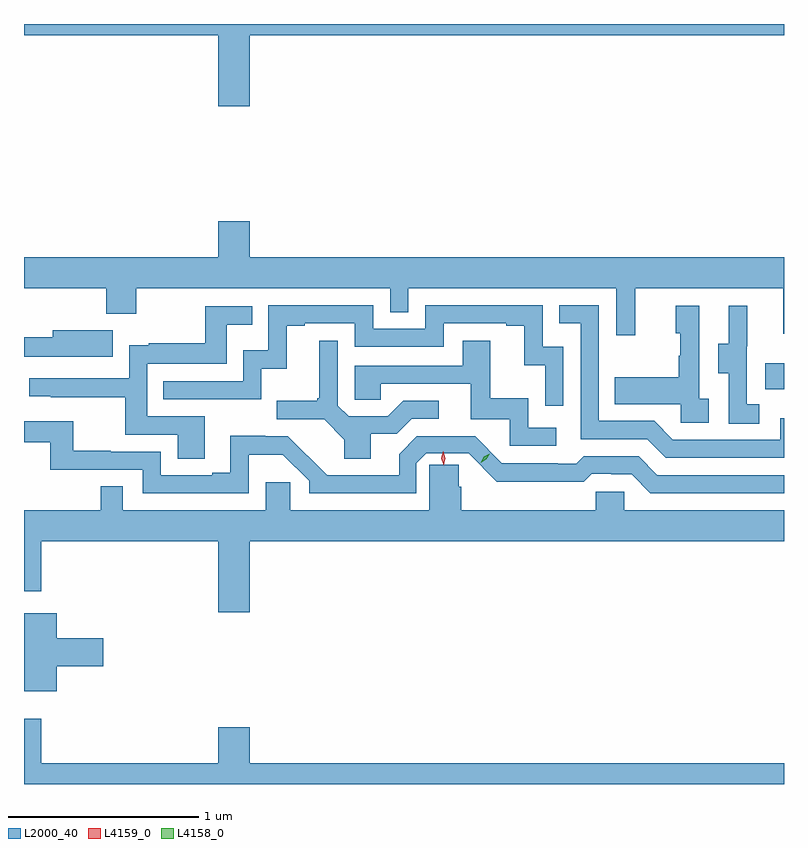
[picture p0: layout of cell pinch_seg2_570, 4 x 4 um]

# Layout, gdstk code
import gdstk
lib = gdstk.Library(unit=1e-6, precision=1e-09)
def R(c, l, rs):  # rectangles x0, y0, x1, y1
    for r in rs: c.add(gdstk.rectangle(r[:2], r[2:], *l))
def P(c, l, *ps):  # polygons
    for p in ps: c.add(gdstk.Polygon(p, *l))
L2000_40 = (2000, 40)
L4158_0 = (4158, 0)
L4159_0 = (4159, 0)

pinch_seg2_570 = lib.new_cell('pinch_seg2_570')
R(pinch_seg2_570, L2000_40, [(1138.915,608.477,1139.013,608.614)])
P(pinch_seg2_570, L2000_40, [(1136.2,610.34),(1139.013,610.34),(1139.013,610.399),(1135.013,610.399),(1135.013,610.34),(1136.036,610.34),(1136.036,609.966),(1136.2,609.966)],
  [(1138.229,609.008),(1139.009,609.008),(1139.009,608.769),(1139.013,608.769),(1139.013,609.172),(1136.2,609.172),(1136.2,609.361),(1136.036,609.361),(1136.036,609.172),(1135.013,609.172),(1135.013,609.008),(1135.445,609.008),(1135.445,608.873),(1135.605,608.873),(1135.605,609.008),(1136.94,609.008),(1136.94,608.881),(1137.036,608.881),(1137.036,609.008),(1138.131,609.008),(1138.131,608.76),(1138.229,608.76)],
  [(1137.852,608.7),(1137.744,608.7),(1137.744,608.919),(1137.126,608.919),(1137.126,608.796),(1136.85,608.796),(1136.85,608.919),(1136.298,608.919),(1136.298,608.683),(1136.166,608.683),(1136.166,608.52),(1135.747,608.52),(1135.747,608.424),(1136.262,608.424),(1136.262,608.585),(1136.395,608.585),(1136.395,608.811),(1136.491,608.811),(1136.491,608.823),(1136.754,608.823),(1136.754,608.7),(1137.222,608.7),(1137.222,608.823),(1137.551,608.823),(1137.551,608.811),(1137.647,608.811),(1137.647,608.603),(1137.756,608.603),(1137.756,608.391),(1137.852,608.391)],
  [(1139.013,608.323),(1138.992,608.323),(1138.992,608.211),(1138.428,608.211),(1138.329,608.31),(1138.038,608.31),(1138.038,608.919),(1137.829,608.919),(1137.829,608.823),(1137.942,608.823),(1137.942,608.214),(1138.292,608.214),(1138.391,608.115),(1139.013,608.115)],
  [(1138.618,608.426),(1138.566,608.426),(1138.566,608.917),(1138.442,608.917),(1138.442,608.772),(1138.468,608.772),(1138.468,608.654),(1138.458,608.654),(1138.458,608.539),(1138.123,608.539),(1138.123,608.399),(1138.47,608.399),(1138.47,608.301),(1138.618,608.301)],
  [(1138.882,608.399),(1138.818,608.399),(1138.818,608.703),(1138.82,608.703),(1138.82,608.917),(1138.721,608.917),(1138.721,608.715),(1138.667,608.715),(1138.667,608.56),(1138.722,608.56),(1138.722,608.296),(1138.882,608.296)],
  [(1135.963,608.334),(1135.662,608.334),(1135.662,608.61),(1136.079,608.61),(1136.079,608.816),(1136.213,608.816),(1136.213,608.913),(1135.968,608.913),(1135.968,608.719),(1135.669,608.719),(1135.669,608.707),(1135.566,608.707),(1135.566,608.535),(1135.041,608.535),(1135.041,608.439),(1135.153,608.439),(1135.153,608.434),(1135.546,608.434),(1135.546,608.238),(1135.823,608.238),(1135.823,608.11),(1135.963,608.11)],
  [(1135.481,608.788),(1135.163,608.788),(1135.163,608.75),(1135.013,608.75),(1135.013,608.649),(1135.267,608.649),(1135.267,608.648),(1135.481,608.648)],
  [(1136.839,608.242),(1136.974,608.242),(1137.054,608.322),(1137.196,608.322),(1137.196,608.415),(1137.008,608.415),(1136.927,608.334),(1136.721,608.334),(1136.664,608.391),(1136.664,608.731),(1136.567,608.731),(1136.567,608.428),(1136.556,608.428),(1136.556,608.416),(1136.343,608.416),(1136.343,608.319),(1136.592,608.319),(1136.699,608.212),(1136.699,608.11),(1136.839,608.11)],
  [(1137.814,608.274),(1137.666,608.274),(1137.666,608.428),(1137.467,608.428),(1137.467,608.731),(1137.323,608.731),(1137.323,608.601),(1136.754,608.601),(1136.754,608.421),(1136.891,608.421),(1136.891,608.505),(1137.365,608.505),(1137.365,608.319),(1137.57,608.319),(1137.57,608.178),(1137.814,608.178)],
  [(1136.197,608.132),(1136.376,608.132),(1136.514,607.994),(1136.514,607.929),(1137.077,607.929),(1137.077,608.086),(1137.131,608.141),(1137.353,608.141),(1137.502,607.991),(1137.726,607.991),(1137.726,607.989),(1137.959,607.989),(1138.001,608.031),(1138.104,608.031),(1138.104,608.028),(1138.211,608.028),(1138.31,607.929),(1139.013,607.929),(1139.013,608.025),(1138.347,608.025),(1138.248,608.124),(1137.959,608.124),(1137.92,608.085),(1137.821,608.085),(1137.821,608.088),(1137.528,608.088),(1137.387,608.229),(1137.081,608.229),(1136.987,608.134),(1136.987,608.025),(1136.608,608.025),(1136.507,608.126),(1136.506,608.125),(1136.401,608.229),(1136.283,608.229),(1136.283,608.231),(1136.099,608.231),(1136.099,608.038),(1136.003,608.038),(1136.003,608.025),(1135.734,608.025),(1135.734,608.148),(1135.469,608.148),(1135.469,608.153),(1135.273,608.153),(1135.273,608.308),(1135.013,608.308),(1135.013,608.199),(1135.152,608.199),(1135.152,608.052),(1135.638,608.052),(1135.638,607.929),(1136.197,607.929)],
  [(1136.2,607.676),(1139.013,607.676),(1139.013,607.84),(1138.173,607.84),(1138.173,607.938),(1138.023,607.938),(1138.023,607.84),(1137.313,607.84),(1137.313,607.964),(1137.302,607.964),(1137.302,608.08),(1137.146,608.08),(1137.146,607.84),(1136.415,607.84),(1136.415,607.988),(1136.285,607.988),(1136.285,607.84),(1135.533,607.84),(1135.533,607.967),(1135.417,607.967),(1135.417,607.84),(1135.013,607.84),(1135.013,607.413),(1135.103,607.413),(1135.103,607.676),(1136.036,607.676),(1136.036,607.302),(1136.2,607.302)],
  [(1135.186,607.019),(1135.429,607.019),(1135.429,607.166),(1135.186,607.166),(1135.186,607.297),(1135.013,607.297),(1135.013,606.887),(1135.186,606.887)],
  [(1139.013,606.508),(1136.2,606.508),(1136.2,606.697),(1136.036,606.697),(1136.036,606.508),(1135.103,606.508),(1135.103,606.742),(1135.013,606.742),(1135.013,606.399),(1139.013,606.399)])
P(pinch_seg2_570, L4158_0, [(1137.416,608.091),(1137.416,608.091),(1137.433,608.121),(1137.463,608.138),(1137.464,608.138),(1137.464,608.138),(1137.447,608.107),(1137.416,608.091)])
P(pinch_seg2_570, L4159_0, [(1137.221,608.076),(1137.221,608.076),(1137.21,608.113),(1137.219,608.15),(1137.219,608.15),(1137.219,608.15),(1137.23,608.113),(1137.222,608.076)])

lib.write_gds('pinch_seg2_570.gds')
